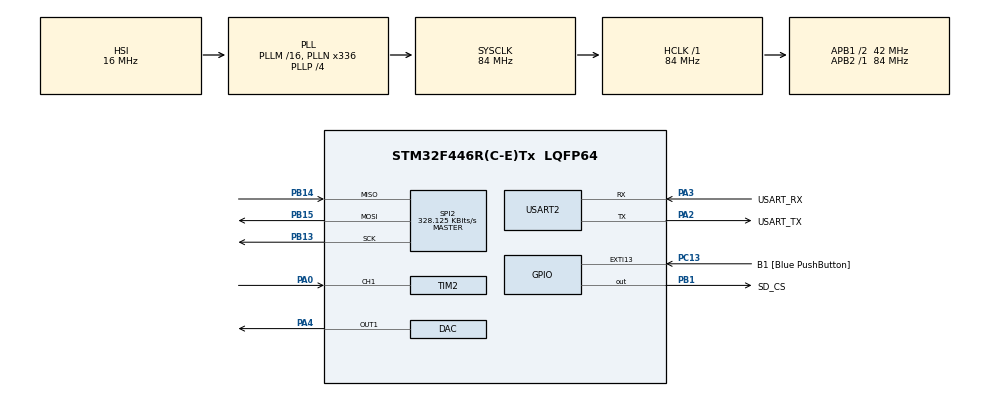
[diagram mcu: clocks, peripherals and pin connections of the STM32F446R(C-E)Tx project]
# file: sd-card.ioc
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FREERTOS.Tasks01=defaultTask,24,128,StartDefaultTask,Default,NULL,Dynamic,NULL,NULL
Mcu.Family=STM32F4
Mcu.Name=STM32F446R(C-E)Tx
Mcu.Package=LQFP64
NVIC.PriorityGroup=NVIC_PRIORITYGROUP_4
NVIC.TIM1_UP_TIM10_IRQn=true\:15\:0\:false\:false\:true\:false\:false\:true\:true
NVIC.TimeBase=TIM1_UP_TIM10_IRQn
NVIC.TimeBaseIP=TIM1
NVIC.USART2_IRQn=true\:5\:0\:false\:true\:true\:1\:true\:true\:true\:true
PA0-WKUP.Signal=S_TIM2_CH1_ETR
PA13.GPIO_Label=TMS
PA13.Mode=Serial_Wire
PA13.Signal=SYS_JTMS-SWDIO
PA14.GPIO_Label=TCK
PA14.Mode=Serial_Wire
PA14.Signal=SYS_JTCK-SWCLK
PA2.GPIO_Label=USART_TX
PA2.Mode=Asynchronous
PA2.Signal=USART2_TX
PA3.GPIO_Label=USART_RX
PA3.Mode=Asynchronous
PA3.Signal=USART2_RX
PA4.Signal=COMP_DAC1_group
PB1.GPIO_Label=SD_CS
PB1.Signal=GPIO_Output
PB12.Signal=SPI2_NSS
PB13.Mode=Full_Duplex_Master
PB13.Signal=SPI2_SCK
PB14.Mode=Full_Duplex_Master
PB14.Signal=SPI2_MISO
PB15.Mode=Full_Duplex_Master
PB15.Signal=SPI2_MOSI
PB3.GPIO_Label=SWO
PB3.Signal=SYS_JTDO-SWO
PC13.GPIO_Label=B1 [Blue PushButton]
PC13.GPIO_ModeDefaultEXTI=GPIO_MODE_IT_FALLING
PC13.Signal=GPXTI13
PC14-OSC32_IN.Mode=LSE-External-Oscillator
PC14-OSC32_IN.Signal=RCC_OSC32_IN
PC15-OSC32_OUT.Mode=LSE-External-Oscillator
PC15-OSC32_OUT.Signal=RCC_OSC32_OUT
PH0-OSC_IN.Mode=HSE-External-Oscillator
PH0-OSC_IN.Signal=RCC_OSC_IN
PH1-OSC_OUT.Mode=HSE-External-Oscillator
PH1-OSC_OUT.Signal=RCC_OSC_OUT
ProjectManager.HeapSize=0x200
ProjectManager.StackSize=0x400
ProjectManager.TargetToolchain=STM32CubeIDE
RCC.48MHZClocksFreq_Value=84000000
RCC.AHBFreq_Value=84000000
RCC.APB1CLKDivider=RCC_HCLK_DIV2
RCC.APB1Freq_Value=42000000
RCC.APB1TimFreq_Value=84000000
RCC.APB2Freq_Value=84000000
RCC.APB2TimFreq_Value=84000000
RCC.CortexFreq_Value=84000000
RCC.FLatency-AdvancedSettings=FLASH_LATENCY_2
RCC.HCLKFreq_Value=84000000
RCC.HSE_VALUE=8000000
RCC.HSI_VALUE=16000000
RCC.PLLN=336
RCC.PLLP=RCC_PLLP_DIV4
RCC.SYSCLKFreq_VALUE=84000000
RCC.SYSCLKSource=RCC_SYSCLKSOURCE_PLLCLK
RCC.USBFreq_Value=168000000
RCC.VCOOutputFreq_Value=336000000
SH.COMP_DAC1_group.0=DAC_OUT1,DAC_OUT1
SH.S_TIM2_CH1_ETR.0=TIM2_CH1,Input_Capture1_from_TI1
SPI2.BaudRatePrescaler=SPI_BAUDRATEPRESCALER_128
SPI2.CLKPhase=SPI_PHASE_1EDGE
SPI2.CalculateBaudRate=328.125 KBits/s
SPI2.Direction=SPI_DIRECTION_2LINES
SPI2.FirstBit=SPI_FIRSTBIT_MSB
SPI2.Mode=SPI_MODE_MASTER
SPI2.VirtualType=VM_MASTER
TIM2.Channel-Input_Capture1_from_TI1=TIM_CHANNEL_1
TIM2.Prescaler=128
USART2.VirtualMode=VM_ASYNC
VP_FATFS_VS_Generic.Mode=User_defined
VP_FREERTOS_VS_CMSIS_V2.Mode=CMSIS_V2
VP_SYS_VS_tim1.Mode=TIM1
VP_TIM2_VS_ClockSourceINT.Mode=Internal
board=NUCLEO-F446RE

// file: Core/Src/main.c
/* USER CODE BEGIN Header */
/**
  ******************************************************************************
  * @file           : main.c
  * @brief          : Main program body
  ******************************************************************************
  * @attention
  *
  * Copyright (c) 2023 STMicroelectronics.
  * All rights reserved.
  *
  * This software is licensed under terms that can be found in the LICENSE file
  * in the root directory of this software component.
  * If no LICENSE file comes with this software, it is provided AS-IS.
  *
  ******************************************************************************
  */
/* USER CODE END Header */
#include "main.h"
#include "cmsis_os.h"
#include "fatfs.h"

/* USER CODE BEGIN Includes */
//#include "FreeRTOSConfig.h"
//#include "FreeRTOS.h"
#include "FreeRTOS_CLI.h"
#include "task.h"
#include "semphr.h"
//#include "portable.h"
#include "fatfs.h"
#include <stdio.h>
/* USER CODE END Includes */

DAC_HandleTypeDef hdac;

SPI_HandleTypeDef hspi2;

volatile TIM_HandleTypeDef htim2;

UART_HandleTypeDef huart2;

/* Definitions for defaultTask */
osThreadId_t defaultTaskHandle;
const osThreadAttr_t defaultTask_attributes = {
  .name = "defaultTask",
  .stack_size = 128 * 4,
  .priority = (osPriority_t) osPriorityNormal,
};
/* USER CODE BEGIN PV */
#ifdef __GNUC__
#define PUTCHAR_PROTOTYPE int __io_putchar(int ch)
#define GETCHAR_PROTOTYPE int __io_getchar(void)
#else
#define PUTCHAR_PROTOTYPE int fputc(int ch, FILE *f)
#define GETCHAR_PROTOTYPE int fgetc(FILE *f)
#endif
/* USER CODE END PV */

void SystemClock_Config(void);
static void MX_GPIO_Init(void);
static void MX_USART2_UART_Init(void);
static void MX_SPI2_Init(void);
static void MX_TIM2_Init(void);
static void MX_DAC_Init(void);
void StartDefaultTask(void *argument);

static void MX_NVIC_Init(void);
/* USER CODE BEGIN PFP */
#define PUTCHAR_PROTOTYPE int __io_putchar(int ch)
#define GETCHAR_PROTOTYPE int __io_getchar(void)

/* USER CODE END PFP */

/* USER CODE BEGIN 0 */
SemaphoreHandle_t xBinarySemaphore;
static const int rate_1 = 500;
char _char = 0x0;
//uint8_t filesystem_up = 0;

void toggleLED_1(void *parameter) {
  while(1) {
    HAL_GPIO_WritePin(LD2_GPIO_Port, LD2_Pin, GPIO_PIN_RESET);
    vTaskDelay(rate_1 / portTICK_PERIOD_MS);
    HAL_GPIO_WritePin(LD2_GPIO_Port, LD2_Pin, GPIO_PIN_SET);
    vTaskDelay(rate_1 / portTICK_PERIOD_MS);
  }
}

#define MAX_INPUT_LENGTH    300
#define MAX_OUTPUT_LENGTH   300

static const int8_t * const pcWelcomeMessage =
  "FreeRTOS command server.\r\nType Help to view a list of registered commands.\r\n";

BaseType_t xCommandTest(char *pcWriteBuffer,
		size_t xWriteBufferLen,
		const char *pcCommandString)
{
//	printf("I am a dummy command\r\n");

	//assumbe buffer is big enough
	memset(pcWriteBuffer,'\0',xWriteBufferLen);
	//vTaskList(pcWriteBuffer);
	//vTaskGetRunTimeStats
	 long int xx =  __HAL_TIM_GET_COUNTER(&htim2);
	 printf("timer:%u\r\n",xx);

	 printf("timer:%u\r\n",portGET_RUN_TIME_COUNTER_VALUE());

	 vTaskGetRunTimeStats(pcWriteBuffer);

//	 UBaseType_t uxTaskGetSystemState(
//	                        TaskStatus_t * const pxTaskStatusArray,
//	                        const UBaseType_t uxArraySize,
//	                        unsigned long * const pulTotalRunTime );
//
//	 TaskStatus_t *pxTaskStatusArray;
//	 volatile UBaseType_t uxArraySize, x;
//	 unsigned long ulTotalRunTime, ulStatsAsPercentage;

	 /* Take a snapshot of the number of tasks in case it changes while this
	 function is executing. */
//	 uxArraySize = uxTaskGetNumberOfTasks();
//
//	 /* Allocate a TaskStatus_t structure for each task.  An array could be
//	 allocated statically at compile time. */
//	  pxTaskStatusArray = pvPortMalloc( uxArraySize * sizeof( TaskStatus_t ) );
//
//      /* Generate raw status information about each task. */
//      uxArraySize = uxTaskGetSystemState( pxTaskStatusArray,
//                                 uxArraySize,
//                                 &ulTotalRunTime );
//     printf("Total run time:%lu\r\n",ulTotalRunTime);
//	//strcpy(pcWriteBuffer,"I am a dummy\r\n");
//
//      for( x = 0; x < uxArraySize; x++ )
//      {
//    	  printf("%s\r\n",pxTaskStatusArray[ x ].pcTaskName);
//    	  printf("task time:%lu\r\n",pxTaskStatusArray[ x ].ulRunTimeCounter);
//      }
	return pdFALSE;
}

static const CLI_Command_Definition_t xTestCmd =
{
		"test",
		"\r\ntest:\r\n Prints stuff\r\n\r\n",
		xCommandTest,
		0
};

void vDummy( void *pvParameters )
{
	for( ;; )
	{
	    vTaskDelay(10/ portTICK_PERIOD_MS);
	    HAL_Delay(50);

	}
}

void vHandleUART( void *pvParameters ){

	for( ;; )
	{
	    vTaskDelay(10/ portTICK_PERIOD_MS);
	    HAL_Delay(50);

	}

}

void vCommandConsoleTask( void *pvParameters )
{
////	Peripheral_Descriptor_t xConsole;
	int8_t cRxedChar, cInputIndex = 0;
	BaseType_t xMoreDataToFollow;
//	/* The input and output buffers are declared static to keep them off the stack. */
	static int8_t pcOutputString[ MAX_OUTPUT_LENGTH ], pcInputString[ MAX_INPUT_LENGTH ];
//
//	/* This code assumes the peripheral being used as the console has already
//    been opened and configured, and is passed into the task as the task
//    parameter.  Cast the task parameter to the correct type. */
//	//xConsole = ( Peripheral_Descriptor_t ) pvParameters;

//	/* Send a welcome message to the user knows they are connected. */
//	FreeRTOS_write( xConsole, pcWelcomeMessage, strlen( pcWelcomeMessage ) );

	printf(pcWelcomeMessage);
	for( ;; )
	{
		vTaskDelay(1);

//		/* This implementation reads a single character at a time.  Wait in the
//        Blocked state until a character is received. */
//		FreeRTOS_read( xConsole, &cRxedChar, sizeof( cRxedChar ) );

		xSemaphoreTake( xBinarySemaphore, portMAX_DELAY );

		cRxedChar = _char; //getchar();
		HAL_UART_Transmit(&huart2, (uint8_t *)&_char, 1, HAL_MAX_DELAY);

		if( cRxedChar == '\r' )
		{
//			printf("aah\r\n");
			/* A newline character was received, so the input command string is
            complete and can be processed.  Transmit a line separator, just to
            make the output easier to read. */
			//FreeRTOS_write( xConsole, "\r\n", strlen( "\r\n" );
			putchar('\r');
			putchar('\n');

			/* The command interpreter is called repeatedly until it returns
            pdFALSE.  See the "Implementing a command" documentation for an
            exaplanation of why this is. */
			do
			{
				/* Send the command string to the command interpreter.  Any
                output generated by the command interpreter will be placed in the
                pcOutputString buffer. */
				//printf("The command str:\r\n");
				//printf(pcInputString);
				//printf("\r\n---\r\n");
				xMoreDataToFollow = FreeRTOS_CLIProcessCommand
						(
								pcInputString,   /* The command string.*/
								pcOutputString,  /* The output buffer. */
								MAX_OUTPUT_LENGTH/* The size of the output buffer. */
						);

				/* Write the output generated by the command interpreter to the
                console. */
				printf(pcOutputString);
				//FreeRTOS_write( xConsole, pcOutputString, strlen( pcOutputString ) );

			} while( xMoreDataToFollow != pdFALSE );

			/* All the strings generated by the input command have been sent.
            Processing of the command is complete.  Clear the input string ready
            to receive the next command. */
			cInputIndex = 0;
			memset( pcInputString, 0x00, MAX_INPUT_LENGTH );
		}
		else
		{
			/* The if() clause performs the processing after a newline character
            is received.  This else clause performs the processing if any other
            character is received. */

			if( cRxedChar == '\n' )
			{
				/* Ignore carriage returns. */
				//printf("oh?\r\n");
			}
			else if( cRxedChar == '\b' )
			{
				/* Backspace was pressed.  Erase the last character in the input
                buffer - if there are any. */
				if( cInputIndex > 0 )
				{
					cInputIndex--;
					pcInputString[ cInputIndex ] = '\0';
				}
			}
			else
			{
				/* A character was entered.  It was not a new line, backspace
                or carriage return, so it is accepted as part of the input and
                placed into the input buffer.  When a n is entered the complete
                string will be passed to the command interpreter. */
				if( cInputIndex < MAX_INPUT_LENGTH )
				{
					pcInputString[ cInputIndex ] = cRxedChar;
					cInputIndex++;
				}
			}
		}

		//after processing char, rearm interrupt
		HAL_UART_Receive_IT(&huart2, (uint8_t *)&_char, 1);

	}
}

prvSetupHardware();
/* USER CODE END 0 */

int main(void)
{
  /* USER CODE BEGIN 1 */
	setvbuf(stdin, NULL, _IONBF, 0);
	xBinarySemaphore = xSemaphoreCreateBinary();
  /* USER CODE END 1 */

  /* MCU Configuration--------------------------------------------------------*/

  /* Reset of all peripherals, Initializes the Flash interface and the Systick. */
  HAL_Init();

  /* Configure the system clock */
  SystemClock_Config();

  /* Initialize all configured peripherals */
  MX_GPIO_Init();
  MX_USART2_UART_Init();
  MX_SPI2_Init();
  MX_FATFS_Init();
  MX_TIM2_Init();
  MX_DAC_Init();

  /* Initialize interrupts */
  MX_NVIC_Init();
  /* USER CODE BEGIN 2 */
  FATFS fs;           /* Filesystem object */
  FIL fil;            /* File object */
  FRESULT res;        /* API result code */
  UINT bw;            /* Bytes written */
  BYTE work[1024]; /* Work area (larger is better for processing time) */
  ///how big should work be?

//  FRESULT f_mkfs (const TCHAR* path, BYTE opt, DWORD au, void* work, UINT len);	/* Create a FAT volume */

  /* Format the default drive with default parameters */
//  printf("about to make fs...\r\n");
//  res = f_mkfs("0",FM_ANY,0, work, sizeof work);
//  printf("mkfs res:%u\r\n",res);

  /* Register work area */
  res = f_mount(&fs, "", 0);
  printf("mnt res:%u\r\n",res);

  /* Create a file as new */
  res = f_open(&fil, "hello.txt", FA_CREATE_NEW | FA_WRITE);
  printf("open res:%u\r\n",res);

  /* Write a message */
  res = f_write(&fil, "Hello, World!\r\n", 15, &bw);
  printf("write res:%u\r\n",res);

  /* Close the file */
  f_close(&fil);

  FRESULT fr;
  FILINFO fno;
  const char *fname = "hello.txt";

  printf("Test for \"%s\"...\r\n", fname);

  fr = f_stat(fname, &fno);
  switch (fr) {

  case FR_OK:
      printf("Size: %lu\r\n", fno.fsize);
      printf("Timestamp: %u-%02u-%02u, %02u:%02u\r\n",
             (fno.fdate >> 9) + 1980, fno.fdate >> 5 & 15, fno.fdate & 31,
             fno.ftime >> 11, fno.ftime >> 5 & 63);
      printf("Attributes: %c%c%c%c%c\r\n",
             (fno.fattrib & AM_DIR) ? 'D' : '-',
             (fno.fattrib & AM_RDO) ? 'R' : '-',
             (fno.fattrib & AM_HID) ? 'H' : '-',
             (fno.fattrib & AM_SYS) ? 'S' : '-',
             (fno.fattrib & AM_ARC) ? 'A' : '-');
      break;

  case FR_NO_FILE:
      printf("\"%s\" is not exist.\r\n", fname);
      break;

  default:
      printf("An error occured. (%d)\n", fr);
  }

  /* Unregister work area */
  f_mount(0, "", 0);

  //DSTATUS stat = disk_initialize(0);
  //printf("init:%u\r\n",stat);

  //DSTATUS stat = USER_initialize(0);
  //printf("init:%u\r\n",stat);

  //stat = USER_status(0);
  //printf("init:%u\r\n",stat);

  /* USER CODE END 2 */

  /* Init scheduler */
//  osKernelInitialize();

  /* Create the thread(s) */
  /* creation of defaultTask */
//  defaultTaskHandle = osThreadNew(StartDefaultTask, NULL, &defaultTask_attributes);

  /* Start scheduler */
//  osKernelStart();

  /* We should never get here as control is now taken by the scheduler */
  /* Infinite loop */
  /* USER CODE BEGIN WHILE */
//  xTaskCreate(  // Use xTaskCreate() in vanilla FreeRTOS
//              toggleLED_1,  // Function to be called
//              "Toggle 1",   // Name of task
//              1024,         // Stack size (bytes in ESP32, words in FreeRTOS)
//              NULL,         // Parameter to pass to function
//              1,            // Task priority (0 to configMAX_PRIORITIES - 1)
//              NULL);         // Task handle
  xTaskCreate(  // Use xTaskCreate() in vanilla FreeRTOS
		  	  vCommandConsoleTask,  // Function to be called
              "Command Console",   // Name of task
              128*8,         // Stack size (bytes in ESP32, words in FreeRTOS)
              NULL,         // Parameter to pass to function
              2,            // Task priority (0 to configMAX_PRIORITIES - 1)
              NULL);         // Task handle

//  xTaskCreate(  // Use xTaskCreate() in vanilla FreeRTOS
//		  	  vDummy,  // Function to be called
//              "Dummy",   // Name of task
//              128,         // Stack size (bytes in ESP32, words in FreeRTOS)
//              NULL,         // Parameter to pass to function
//              1,            // Task priority (0 to configMAX_PRIORITIES - 1)
//              NULL);         // Task handle

  FreeRTOS_CLIRegisterCommand( (const) &xTestCmd);

  uint16_t dac_value=0;
  HAL_DAC_Start(&hdac, DAC_CHANNEL_1);

  while(1){
	  for(uint16_t i =1800; i<3200; i=i+100){
		  //dac_value = (dac_value+100)%4096;
		  HAL_Delay(50);
		  HAL_DAC_SetValue(&hdac, DAC_CHANNEL_1, DAC_ALIGN_12B_R, i);
	  }
	  for(uint16_t i =1800; i<3200; i=i+100){
		  //dac_value = (dac_value+100)%4096;
		  HAL_Delay(50);
		  HAL_DAC_SetValue(&hdac, DAC_CHANNEL_1, DAC_ALIGN_12B_R, 5000-i);
	  }
  }

  //vTaskDelay(10/ portTICK_PERIOD_MS);
  HAL_Delay(50);
  HAL_UART_Receive_IT(&huart2, (uint8_t *)&_char, 1);

  //printf("configMAX_SYSCALL_INTERRUPT_PRIORITY%u\r\n",configMAX_SYSCALL_INTERRUPT_PRIORITY);
  vTaskStartScheduler();
  printf("If we're here, sched didn't start\r\n");
  char strBuf[50] = {0};
  char c = 0;
  printf("getchar\r\n");
  int x = 0;
  HAL_TIM_Base_Start(&htim2);

  while (1)
  {
	 //x =  __HAL_TIM_GET_COUNTER(&htim2);
	 //printf("timer:%u\r\n",x);

//	scanf("%s",strBuf);
//	printf("Heres your command:%s\r\n",strBuf);

	  //c = getchar();
	  //printf("Heres your char:%c\r\n",c);

	  HAL_GPIO_WritePin(LD2_GPIO_Port, LD2_Pin, GPIO_PIN_RESET);
	  HAL_Delay(100);
	  HAL_GPIO_WritePin(LD2_GPIO_Port, LD2_Pin, GPIO_PIN_SET);
	  HAL_Delay(100);
    /* USER CODE END WHILE */

  }
}

void SystemClock_Config(void)
{
  RCC_OscInitTypeDef RCC_OscInitStruct = {0};
  RCC_ClkInitTypeDef RCC_ClkInitStruct = {0};

  /** Configure the main internal regulator output voltage
  */
  __HAL_RCC_PWR_CLK_ENABLE();
  __HAL_PWR_VOLTAGESCALING_CONFIG(PWR_REGULATOR_VOLTAGE_SCALE3);
  /** Initializes the RCC Oscillators according to the specified parameters
  * in the RCC_OscInitTypeDef structure.
  */
  RCC_OscInitStruct.OscillatorType = RCC_OSCILLATORTYPE_HSI;
  RCC_OscInitStruct.HSIState = RCC_HSI_ON;
  RCC_OscInitStruct.HSICalibrationValue = RCC_HSICALIBRATION_DEFAULT;
  RCC_OscInitStruct.PLL.PLLState = RCC_PLL_ON;
  RCC_OscInitStruct.PLL.PLLSource = RCC_PLLSOURCE_HSI;
  RCC_OscInitStruct.PLL.PLLM = 16;
  RCC_OscInitStruct.PLL.PLLN = 336;
  RCC_OscInitStruct.PLL.PLLP = RCC_PLLP_DIV4;
  RCC_OscInitStruct.PLL.PLLQ = 2;
  RCC_OscInitStruct.PLL.PLLR = 2;
  if (HAL_RCC_OscConfig(&RCC_OscInitStruct) != HAL_OK)
  {
    Error_Handler();
  }
  /** Initializes the CPU, AHB and APB buses clocks
  */
  RCC_ClkInitStruct.ClockType = RCC_CLOCKTYPE_HCLK|RCC_CLOCKTYPE_SYSCLK
                              |RCC_CLOCKTYPE_PCLK1|RCC_CLOCKTYPE_PCLK2;
  RCC_ClkInitStruct.SYSCLKSource = RCC_SYSCLKSOURCE_PLLCLK;
  RCC_ClkInitStruct.AHBCLKDivider = RCC_SYSCLK_DIV1;
  RCC_ClkInitStruct.APB1CLKDivider = RCC_HCLK_DIV2;
  RCC_ClkInitStruct.APB2CLKDivider = RCC_HCLK_DIV1;

  if (HAL_RCC_ClockConfig(&RCC_ClkInitStruct, FLASH_LATENCY_2) != HAL_OK)
  {
    Error_Handler();
  }
}

/**
  * @brief NVIC Configuration.
  * @retval None
  */
static void MX_NVIC_Init(void)
{
  /* USART2_IRQn interrupt configuration */
  HAL_NVIC_SetPriority(USART2_IRQn, 5, 0);
  HAL_NVIC_EnableIRQ(USART2_IRQn);
}

static void MX_DAC_Init(void)
{

  DAC_ChannelConfTypeDef sConfig = {0};

  /** DAC Initialization
  */
  hdac.Instance = DAC;
  if (HAL_DAC_Init(&hdac) != HAL_OK)
  {
    Error_Handler();
  }
  /** DAC channel OUT1 config
  */
  sConfig.DAC_Trigger = DAC_TRIGGER_NONE;
  sConfig.DAC_OutputBuffer = DAC_OUTPUTBUFFER_ENABLE;
  if (HAL_DAC_ConfigChannel(&hdac, &sConfig, DAC_CHANNEL_1) != HAL_OK)
  {
    Error_Handler();
  }

}

static void MX_SPI2_Init(void)
{

  /* SPI2 parameter configuration*/
  hspi2.Instance = SPI2;
  hspi2.Init.Mode = SPI_MODE_MASTER;
  hspi2.Init.Direction = SPI_DIRECTION_2LINES;
  hspi2.Init.DataSize = SPI_DATASIZE_8BIT;
  hspi2.Init.CLKPolarity = SPI_POLARITY_LOW;
  hspi2.Init.CLKPhase = SPI_PHASE_1EDGE;
  hspi2.Init.NSS = SPI_NSS_SOFT;
  hspi2.Init.BaudRatePrescaler = SPI_BAUDRATEPRESCALER_128;
  hspi2.Init.FirstBit = SPI_FIRSTBIT_MSB;
  hspi2.Init.TIMode = SPI_TIMODE_DISABLE;
  hspi2.Init.CRCCalculation = SPI_CRCCALCULATION_DISABLE;
  hspi2.Init.CRCPolynomial = 10;
  if (HAL_SPI_Init(&hspi2) != HAL_OK)
  {
    Error_Handler();
  }

}

static void MX_TIM2_Init(void)
{

  TIM_ClockConfigTypeDef sClockSourceConfig = {0};
  TIM_MasterConfigTypeDef sMasterConfig = {0};
  TIM_IC_InitTypeDef sConfigIC = {0};

  htim2.Instance = TIM2;
  htim2.Init.Prescaler = 128;
  htim2.Init.CounterMode = TIM_COUNTERMODE_UP;
  htim2.Init.Period = 4294967295;
  htim2.Init.ClockDivision = TIM_CLOCKDIVISION_DIV1;
  htim2.Init.AutoReloadPreload = TIM_AUTORELOAD_PRELOAD_DISABLE;
  if (HAL_TIM_Base_Init(&htim2) != HAL_OK)
  {
    Error_Handler();
  }
  sClockSourceConfig.ClockSource = TIM_CLOCKSOURCE_INTERNAL;
  if (HAL_TIM_ConfigClockSource(&htim2, &sClockSourceConfig) != HAL_OK)
  {
    Error_Handler();
  }
  if (HAL_TIM_IC_Init(&htim2) != HAL_OK)
  {
    Error_Handler();
  }
  sMasterConfig.MasterOutputTrigger = TIM_TRGO_RESET;
  sMasterConfig.MasterSlaveMode = TIM_MASTERSLAVEMODE_DISABLE;
  if (HAL_TIMEx_MasterConfigSynchronization(&htim2, &sMasterConfig) != HAL_OK)
  {
    Error_Handler();
  }
  sConfigIC.ICPolarity = TIM_INPUTCHANNELPOLARITY_RISING;
  sConfigIC.ICSelection = TIM_ICSELECTION_DIRECTTI;
  sConfigIC.ICPrescaler = TIM_ICPSC_DIV1;
  sConfigIC.ICFilter = 0;
  if (HAL_TIM_IC_ConfigChannel(&htim2, &sConfigIC, TIM_CHANNEL_1) != HAL_OK)
  {
    Error_Handler();
  }

}

static void MX_USART2_UART_Init(void)
{

  huart2.Instance = USART2;
  huart2.Init.BaudRate = 115200;
  huart2.Init.WordLength = UART_WORDLENGTH_8B;
  huart2.Init.StopBits = UART_STOPBITS_1;
  huart2.Init.Parity = UART_PARITY_NONE;
  huart2.Init.Mode = UART_MODE_TX_RX;
  huart2.Init.HwFlowCtl = UART_HWCONTROL_NONE;
  huart2.Init.OverSampling = UART_OVERSAMPLING_16;
  if (HAL_UART_Init(&huart2) != HAL_OK)
  {
    Error_Handler();
  }

}

static void MX_GPIO_Init(void)
{
  GPIO_InitTypeDef GPIO_InitStruct = {0};

  /* GPIO Ports Clock Enable */
  __HAL_RCC_GPIOC_CLK_ENABLE();
  __HAL_RCC_GPIOH_CLK_ENABLE();
  __HAL_RCC_GPIOA_CLK_ENABLE();
  __HAL_RCC_GPIOB_CLK_ENABLE();

  /*Configure GPIO pin Output Level */
  HAL_GPIO_WritePin(SD_CS_GPIO_Port, SD_CS_Pin, GPIO_PIN_RESET);

  /*Configure GPIO pin : B1_Pin */
  GPIO_InitStruct.Pin = B1_Pin;
  GPIO_InitStruct.Mode = GPIO_MODE_IT_FALLING;
  GPIO_InitStruct.Pull = GPIO_NOPULL;
  HAL_GPIO_Init(B1_GPIO_Port, &GPIO_InitStruct);

  /*Configure GPIO pin : SD_CS_Pin */
  GPIO_InitStruct.Pin = SD_CS_Pin;
  GPIO_InitStruct.Mode = GPIO_MODE_OUTPUT_PP;
  GPIO_InitStruct.Pull = GPIO_NOPULL;
  GPIO_InitStruct.Speed = GPIO_SPEED_FREQ_LOW;
  HAL_GPIO_Init(SD_CS_GPIO_Port, &GPIO_InitStruct);

  /* USER CODE BEGIN MX_GPIO_Init_2 */
  /*Configure GPIO pin : LD2_Pin */
  GPIO_InitStruct.Pin = LD2_Pin;
  GPIO_InitStruct.Mode = GPIO_MODE_OUTPUT_PP;
  GPIO_InitStruct.Pull = GPIO_NOPULL;
  GPIO_InitStruct.Speed = GPIO_SPEED_FREQ_LOW;
  HAL_GPIO_Init(LD2_GPIO_Port, &GPIO_InitStruct);
  /* USER CODE END MX_GPIO_Init_2 */

}

/* USER CODE BEGIN 4 */
//void HAL_UART_RxCpltCallback(UART_HandleTypeDef *huart)
//{
//  HAL_UART_Transmit(&huart2, (uint8_t *)&_char, 1, HAL_MAX_DELAY);
////	BaseType_t xHigherPriorityTaskWoken;
////
////
////	xHigherPriorityTaskWoken = pdFALSE;
////
////	//printf("about to give semaphore\r\n");
////	xSemaphoreGiveFromISR( xBinarySemaphore, &xHigherPriorityTaskWoken );
////
////	printf("gave semaphore\r\n");
////	portYIELD_FROM_ISR( xHigherPriorityTaskWoken );
//
//  HAL_UART_Receive_IT(&huart2, (uint8_t *)&_char, 1);
//
//
//
//}

PUTCHAR_PROTOTYPE
{
  /* Place your implementation of fputc here */
  /* e.g. write a character to the USART1 and Loop until the end of transmission */
  HAL_UART_Transmit(&huart2, (uint8_t *)&ch, 1, 0xFFFF);

  return ch;
}

GETCHAR_PROTOTYPE
{
	//__HAL_UART_CLEAR_OREFLAG(&huart2);

	uint8_t _char;

	HAL_UART_Receive(&huart2, (uint8_t *)&_char, 1, HAL_MAX_DELAY);
	HAL_UART_Transmit(&huart2, (uint8_t *)&_char, 1, HAL_MAX_DELAY);

	//if (_char == '\r') {
	//	unsigned char repl = '\n';
	//	HAL_UART_Transmit(&huart2, &repl, 1, HAL_MAX_DELAY);
	//}

	return _char;

}

uint8_t fixedPointLog2(uint8_t val){
	uint8_t r = 0;
	while (val >>= 1) // unroll for more speed...
	{
	  r++;
	}
	return r;
}

/* USER CODE END 4 */

void StartDefaultTask(void *argument)
{
  for(;;)
  {
    osDelay(1);
  }
}

void HAL_TIM_PeriodElapsedCallback(TIM_HandleTypeDef *htim)
{
  if (htim->Instance == TIM1) {
    HAL_IncTick();
  }
}

void Error_Handler(void)
{
  __disable_irq();
  while (1)
  {
  }
}
